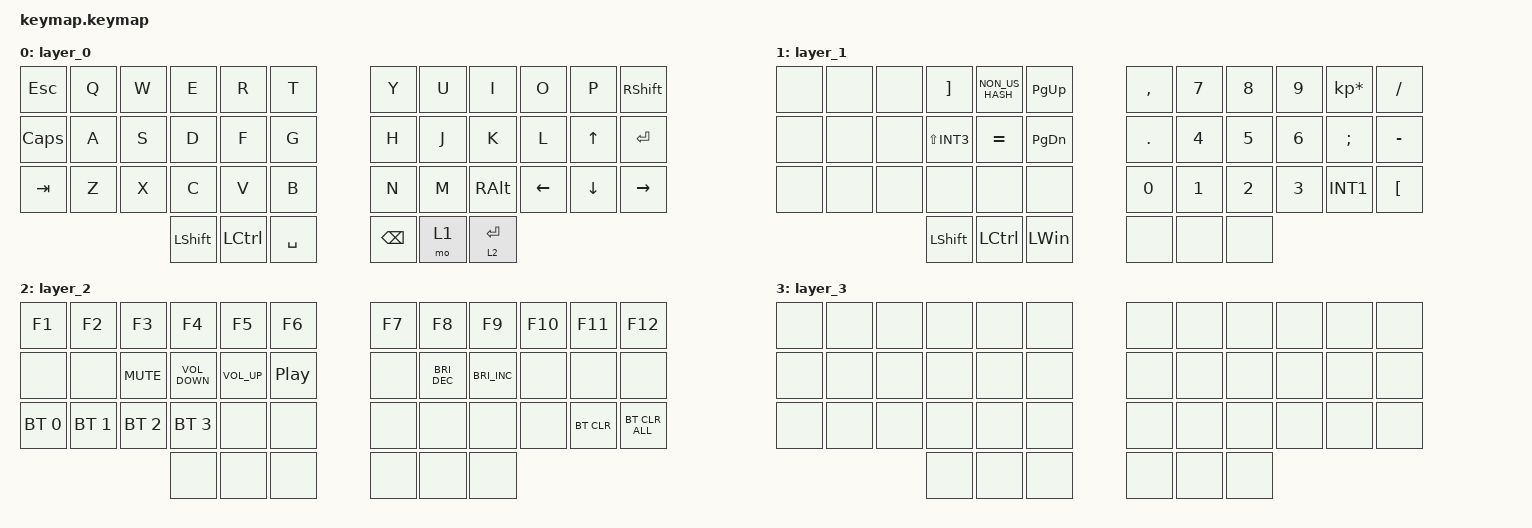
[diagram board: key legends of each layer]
#include <behaviors.dtsi>
#include <dt-bindings/zmk/keys.h>
#include <dt-bindings/zmk/bt.h>

/ {
    macros {
        new_macro: new_macro {
            compatible = "zmk,behavior-macro";
            #binding-cells = <0>;
            bindings = <&none>;
            label = "NEW_MACRO";
        };
    };

    keymap {
        compatible = "zmk,keymap";

        layer_0 {
            bindings = <
&kp ESCAPE   &kp Q  &kp W  &kp E           &kp R             &kp T      &kp Y          &kp U        &kp I          &kp O           &kp P           &kp RIGHT_SHIFT
&kp CAPSLOCK &kp A  &kp S  &kp D           &kp F             &kp G      &kp H          &kp J        &kp K          &kp L           &kp UP_ARROW    &kp ENTER
&kp TAB      &kp Z  &kp X  &kp C           &kp V             &kp B      &kp N          &kp M        &kp RIGHT_ALT  &kp LEFT_ARROW  &kp DOWN_ARROW  &kp RIGHT_ARROW
                          &kp LEFT_SHIFT  &kp LEFT_CONTROL  &kp SPACE  &kp BACKSPACE  &mo 1  &lt 2 ENTER
            >;
        };

        layer_1 {
            bindings = <
&none  &none  &none  &kp RIGHT_BRACKET  &kp NON_US_HASH  &kp PAGE_UP                 &kp COMMA     &kp NUMBER_7  &kp NUMBER_8  &kp NUMBER_9  &kp KP_MULTIPLY  &kp SLASH
&none  &none  &none  &kp LS(INT3)       &kp EQUAL        &kp PAGE_DOWN               &kp PERIOD    &kp NUMBER_4  &kp NUMBER_5  &kp NUMBER_6  &kp SEMICOLON    &kp MINUS
&none  &none  &none  &none              &none                 &none                  &kp NUMBER_0  &kp NUMBER_1  &kp NUMBER_2  &kp NUMBER_3  &kp INT1         &kp LEFT_BRACKET
                          &kp LEFT_SHIFT  &kp LCTRL  &kp LWIN  &none  &none  &none
            >;
        };

        layer_2 {
            bindings = <
&kp F1  &kp F2  &kp F3      &kp F4             &kp F5           &kp F6            &kp F7  &kp F8                &kp F9                &kp F10  &kp F11  &kp F12
&none   &none   &kp K_MUTE  &kp C_VOLUME_DOWN  &kp C_VOLUME_UP  &kp C_PLAY_PAUSE  &none   &kp C_BRIGHTNESS_DEC  &kp C_BRIGHTNESS_INC  &none    &none    &none
&bt BT_SEL 0   &bt BT_SEL 1   &bt BT_SEL 2       &bt BT_SEL 3              &none            &none             &none   &none                 &none                 &none    &bt BT_CLR    &bt BT_CLR_ALL
                            &none              &none            &none             &none   &none                 &none
            >;
        };

        layer_3 {
            bindings = <
&none  &none  &none  &none  &none  &none  &none  &none  &none  &none  &none  &none
&none  &none  &none  &none  &none  &none  &none  &none  &none  &none  &none  &none
&none  &none  &none  &none  &none  &none  &none  &none  &none  &none  &none  &none
                     &none  &none  &none  &none  &none  &none
            >;
        };
    };
};
